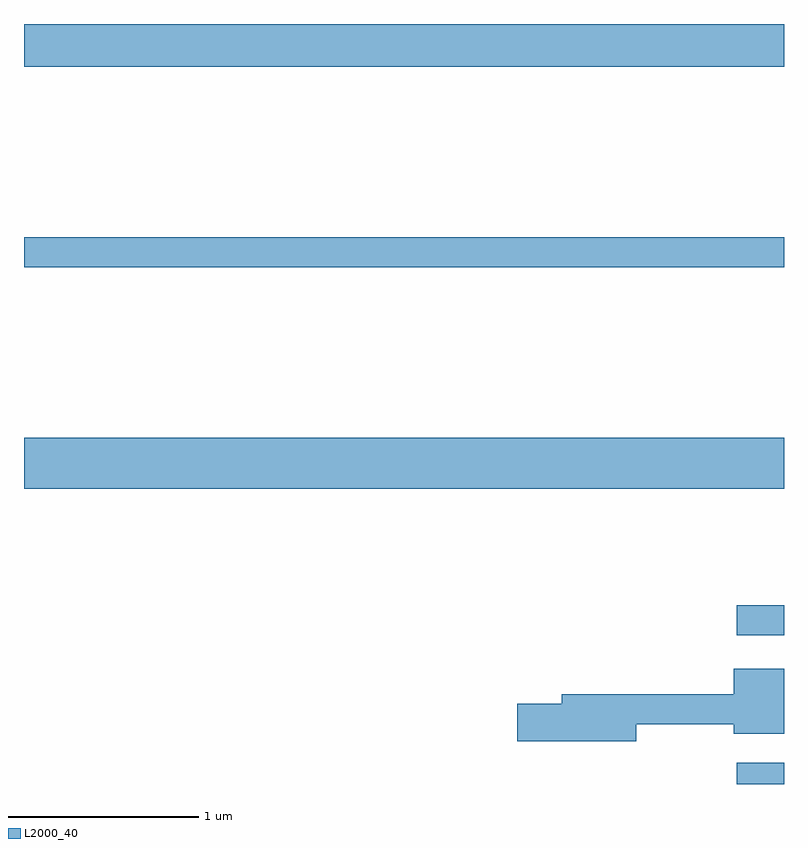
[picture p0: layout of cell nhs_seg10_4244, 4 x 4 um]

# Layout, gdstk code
import gdstk
lib = gdstk.Library(unit=1e-6, precision=1e-09)
def R(c, l, rs):  # rectangles x0, y0, x1, y1
    for r in rs: c.add(gdstk.rectangle(r[:2], r[2:], *l))
def P(c, l, *ps):  # polygons
    for p in ps: c.add(gdstk.Polygon(p, *l))
L2000_40 = (2000, 40)

nhs_seg10_4244 = lib.new_cell('nhs_seg10_4244')
R(nhs_seg10_4244, L2000_40, [(313.363,2174.522,313.611,2174.634), (313.363,2175.306,313.611,2175.464), (309.611,2176.076,313.611,2176.344), (309.611,2177.241,313.611,2177.399), (309.611,2178.296,313.611,2178.522)])
P(nhs_seg10_4244, L2000_40, [(312.834,2174.836),(313.346,2174.836),(313.346,2174.786),(313.611,2174.786),(313.611,2175.129),(313.346,2175.129),(313.346,2174.994),(312.441,2174.994),(312.441,2174.944),(312.206,2174.944),(312.206,2174.746),(312.834,2174.746)])

lib.write_gds('nhs_seg10_4244.gds')
